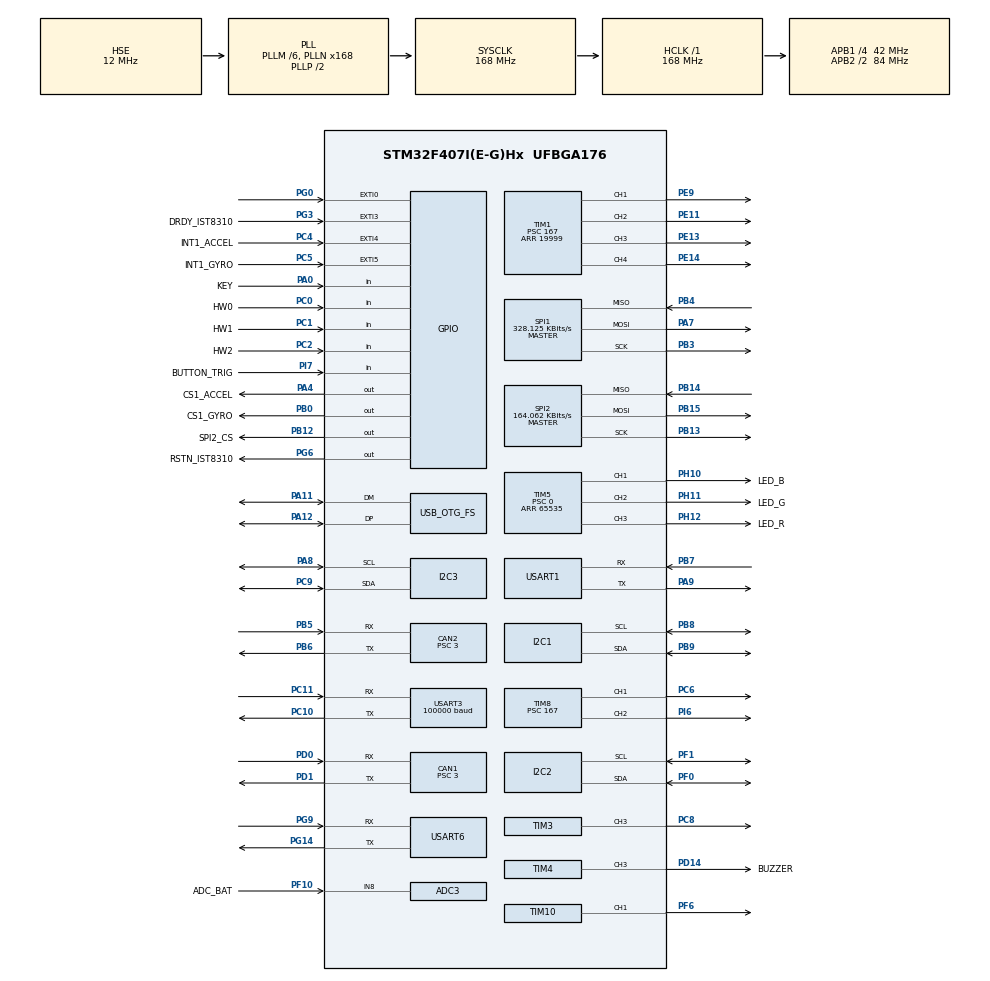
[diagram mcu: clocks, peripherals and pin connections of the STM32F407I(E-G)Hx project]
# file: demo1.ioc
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ADC1.Channel-0\#ChannelRegularConversion=ADC_CHANNEL_TEMPSENSOR
ADC1.ClockPrescaler=ADC_CLOCK_SYNC_PCLK_DIV6
ADC1.NbrOfConversionFlag=1
ADC1.Rank-0\#ChannelRegularConversion=1
ADC1.SamplingTime-0\#ChannelRegularConversion=ADC_SAMPLETIME_3CYCLES
ADC1.master=1
ADC3.Channel-0\#ChannelRegularConversion=ADC_CHANNEL_8
ADC3.ClockPrescaler=ADC_CLOCK_SYNC_PCLK_DIV6
ADC3.NbrOfConversionFlag=1
ADC3.Rank-0\#ChannelRegularConversion=1
ADC3.SamplingTime-0\#ChannelRegularConversion=ADC_SAMPLETIME_3CYCLES
CAN1.BS1=CAN_BS1_10TQ
CAN1.BS2=CAN_BS2_3TQ
CAN1.CalculateTimeQuantum=71.42857142857143
CAN1.Prescaler=3
CAN2.BS1=CAN_BS1_10TQ
CAN2.BS2=CAN_BS2_3TQ
CAN2.CalculateTimeQuantum=71.42857142857143
CAN2.Prescaler=3
Dma.I2C2_TX.2.Direction=DMA_MEMORY_TO_PERIPH
Dma.I2C2_TX.2.FIFOMode=DMA_FIFOMODE_DISABLE
Dma.I2C2_TX.2.Instance=DMA1_Stream7
Dma.I2C2_TX.2.MemDataAlignment=DMA_MDATAALIGN_BYTE
Dma.I2C2_TX.2.MemInc=DMA_MINC_ENABLE
Dma.I2C2_TX.2.Mode=DMA_NORMAL
Dma.I2C2_TX.2.PeriphDataAlignment=DMA_PDATAALIGN_BYTE
Dma.I2C2_TX.2.PeriphInc=DMA_PINC_DISABLE
Dma.I2C2_TX.2.Priority=DMA_PRIORITY_HIGH
Dma.Request0=SPI1_RX
Dma.Request1=SPI1_TX
Dma.Request2=I2C2_TX
Dma.Request3=USART3_RX
Dma.Request4=USART6_RX
Dma.Request5=USART6_TX
Dma.Request6=USART1_TX
Dma.SPI1_RX.0.Direction=DMA_PERIPH_TO_MEMORY
Dma.SPI1_RX.0.FIFOMode=DMA_FIFOMODE_DISABLE
Dma.SPI1_RX.0.Instance=DMA2_Stream2
Dma.SPI1_RX.0.MemDataAlignment=DMA_MDATAALIGN_BYTE
Dma.SPI1_RX.0.MemInc=DMA_MINC_ENABLE
Dma.SPI1_RX.0.Mode=DMA_NORMAL
Dma.SPI1_RX.0.PeriphDataAlignment=DMA_PDATAALIGN_BYTE
Dma.SPI1_RX.0.PeriphInc=DMA_PINC_DISABLE
Dma.SPI1_RX.0.Priority=DMA_PRIORITY_VERY_HIGH
Dma.SPI1_TX.1.Direction=DMA_MEMORY_TO_PERIPH
Dma.SPI1_TX.1.FIFOMode=DMA_FIFOMODE_DISABLE
Dma.SPI1_TX.1.Instance=DMA2_Stream3
Dma.SPI1_TX.1.MemDataAlignment=DMA_MDATAALIGN_BYTE
Dma.SPI1_TX.1.MemInc=DMA_MINC_ENABLE
Dma.SPI1_TX.1.Mode=DMA_NORMAL
Dma.SPI1_TX.1.PeriphDataAlignment=DMA_PDATAALIGN_BYTE
Dma.SPI1_TX.1.PeriphInc=DMA_PINC_DISABLE
Dma.SPI1_TX.1.Priority=DMA_PRIORITY_HIGH
Dma.USART1_TX.6.Direction=DMA_MEMORY_TO_PERIPH
Dma.USART1_TX.6.FIFOMode=DMA_FIFOMODE_DISABLE
Dma.USART1_TX.6.Instance=DMA2_Stream7
Dma.USART1_TX.6.MemDataAlignment=DMA_MDATAALIGN_BYTE
Dma.USART1_TX.6.MemInc=DMA_MINC_ENABLE
Dma.USART1_TX.6.Mode=DMA_NORMAL
Dma.USART1_TX.6.PeriphDataAlignment=DMA_PDATAALIGN_BYTE
Dma.USART1_TX.6.PeriphInc=DMA_PINC_DISABLE
Dma.USART1_TX.6.Priority=DMA_PRIORITY_MEDIUM
Dma.USART3_RX.3.Direction=DMA_PERIPH_TO_MEMORY
Dma.USART3_RX.3.FIFOMode=DMA_FIFOMODE_DISABLE
Dma.USART3_RX.3.Instance=DMA1_Stream1
Dma.USART3_RX.3.MemDataAlignment=DMA_MDATAALIGN_BYTE
Dma.USART3_RX.3.MemInc=DMA_MINC_ENABLE
Dma.USART3_RX.3.Mode=DMA_NORMAL
Dma.USART3_RX.3.PeriphDataAlignment=DMA_PDATAALIGN_BYTE
Dma.USART3_RX.3.PeriphInc=DMA_PINC_DISABLE
Dma.USART3_RX.3.Priority=DMA_PRIORITY_HIGH
Dma.USART6_RX.4.Direction=DMA_PERIPH_TO_MEMORY
Dma.USART6_RX.4.FIFOMode=DMA_FIFOMODE_DISABLE
Dma.USART6_RX.4.Instance=DMA2_Stream1
Dma.USART6_RX.4.MemDataAlignment=DMA_MDATAALIGN_BYTE
Dma.USART6_RX.4.MemInc=DMA_MINC_ENABLE
Dma.USART6_RX.4.Mode=DMA_NORMAL
Dma.USART6_RX.4.PeriphDataAlignment=DMA_PDATAALIGN_BYTE
Dma.USART6_RX.4.PeriphInc=DMA_PINC_DISABLE
Dma.USART6_RX.4.Priority=DMA_PRIORITY_HIGH
Dma.USART6_TX.5.Direction=DMA_MEMORY_TO_PERIPH
Dma.USART6_TX.5.FIFOMode=DMA_FIFOMODE_DISABLE
Dma.USART6_TX.5.Instance=DMA2_Stream6
Dma.USART6_TX.5.MemDataAlignment=DMA_MDATAALIGN_BYTE
Dma.USART6_TX.5.MemInc=DMA_MINC_ENABLE
Dma.USART6_TX.5.Mode=DMA_NORMAL
Dma.USART6_TX.5.PeriphDataAlignment=DMA_PDATAALIGN_BYTE
Dma.USART6_TX.5.PeriphInc=DMA_PINC_DISABLE
Dma.USART6_TX.5.Priority=DMA_PRIORITY_MEDIUM
FREERTOS.INCLUDE_eTaskGetState=1
FREERTOS.INCLUDE_pcTaskGetTaskName=1
FREERTOS.INCLUDE_uxTaskGetStackHighWaterMark=1
FREERTOS.INCLUDE_vTaskCleanUpResources=1
FREERTOS.INCLUDE_vTaskDelayUntil=1
FREERTOS.INCLUDE_xEventGroupSetBitFromISR=1
FREERTOS.INCLUDE_xQueueGetMutexHolder=1
FREERTOS.INCLUDE_xSemaphoreGetMutexHolder=1
FREERTOS.INCLUDE_xTaskAbortDelay=1
FREERTOS.INCLUDE_xTaskGetCurrentTaskHandle=1
FREERTOS.INCLUDE_xTaskGetHandle=1
FREERTOS.INCLUDE_xTimerPendFunctionCall=1
FREERTOS.Tasks01=test,24,128,test_task,As weak,NULL,Dynamic,NULL,NULL
FREERTOS.configTOTAL_HEAP_SIZE=24576
I2C1.I2C_Mode=I2C_Fast
I2C2.I2C_Mode=I2C_Fast
I2C3.I2C_Mode=I2C_Fast
Mcu.Family=STM32F4
Mcu.Name=STM32F407I(E-G)Hx
Mcu.Package=UFBGA176
NVIC.CAN1_RX0_IRQn=true\:6\:0\:true\:false\:true\:true\:true\:true
NVIC.CAN2_RX0_IRQn=true\:6\:0\:true\:false\:true\:true\:true\:true
NVIC.DMA1_Stream1_IRQn=true\:5\:0\:true\:false\:false\:true\:false\:false
NVIC.DMA1_Stream7_IRQn=true\:5\:0\:true\:false\:false\:true\:false\:true
NVIC.DMA2_Stream1_IRQn=true\:5\:0\:true\:false\:true\:true\:false\:true
NVIC.DMA2_Stream2_IRQn=true\:5\:0\:true\:false\:false\:true\:false\:true
NVIC.DMA2_Stream3_IRQn=true\:5\:0\:true\:false\:false\:true\:false\:true
NVIC.DMA2_Stream6_IRQn=true\:5\:0\:true\:false\:true\:true\:false\:true
NVIC.DMA2_Stream7_IRQn=true\:5\:0\:true\:false\:true\:true\:false\:true
NVIC.EXTI0_IRQn=true\:6\:0\:true\:false\:true\:true\:true\:true
NVIC.EXTI3_IRQn=true\:5\:0\:true\:false\:true\:true\:true\:true
NVIC.EXTI4_IRQn=true\:5\:0\:true\:false\:true\:true\:true\:true
NVIC.EXTI9_5_IRQn=true\:5\:0\:true\:false\:true\:true\:true\:true
NVIC.OTG_FS_IRQn=true\:5\:0\:false\:false\:true\:true\:false\:true
NVIC.PriorityGroup=NVIC_PRIORITYGROUP_4
NVIC.USART3_IRQn=true\:4\:0\:true\:false\:false\:false\:true\:true
NVIC.USART6_IRQn=true\:5\:0\:true\:false\:false\:true\:true\:true
PA0-WKUP.GPIO_Label=KEY
PA0-WKUP.GPIO_PuPd=GPIO_PULLUP
PA0-WKUP.Signal=GPIO_Input
PA11.Mode=Device_Only
PA11.Signal=USB_OTG_FS_DM
PA12.Mode=Device_Only
PA12.Signal=USB_OTG_FS_DP
PA13.Mode=Serial_Wire
PA13.Signal=SYS_JTMS-SWDIO
PA14.Mode=Serial_Wire
PA14.Signal=SYS_JTCK-SWCLK
PA4.GPIO_Label=CS1_ACCEL
PA4.GPIO_PuPd=GPIO_PULLUP
PA4.GPIO_Speed=GPIO_SPEED_FREQ_HIGH
PA4.PinState=GPIO_PIN_SET
PA4.Signal=GPIO_Output
PA7.GPIO_PuPd=GPIO_PULLUP
PA7.Mode=Full_Duplex_Master
PA7.Signal=SPI1_MOSI
PA8.Mode=I2C
PA8.Signal=I2C3_SCL
PA9.Mode=Asynchronous
PA9.Signal=USART1_TX
PB0.GPIO_Label=CS1_GYRO
PB0.GPIO_PuPd=GPIO_PULLUP
PB0.GPIO_Speed=GPIO_SPEED_FREQ_HIGH
PB0.PinState=GPIO_PIN_SET
PB0.Signal=GPIO_Output
PB12.GPIO_Label=SPI2_CS
PB12.GPIO_PuPd=GPIO_PULLUP
PB12.GPIO_Speed=GPIO_SPEED_FREQ_MEDIUM
PB12.PinState=GPIO_PIN_SET
PB12.Signal=GPIO_Output
PB13.GPIO_PuPd=GPIO_PULLUP
PB13.Mode=Full_Duplex_Master
PB13.Signal=SPI2_SCK
PB14.GPIO_PuPd=GPIO_PULLUP
PB14.Mode=Full_Duplex_Master
PB14.Signal=SPI2_MISO
PB15.GPIO_PuPd=GPIO_PULLUP
PB15.Mode=Full_Duplex_Master
PB15.Signal=SPI2_MOSI
PB3.GPIO_PuPd=GPIO_PULLUP
PB3.Mode=Full_Duplex_Master
PB3.Signal=SPI1_SCK
PB4.GPIO_PuPd=GPIO_PULLUP
PB4.Mode=Full_Duplex_Master
PB4.Signal=SPI1_MISO
PB5.Mode=Slave
PB5.Signal=CAN2_RX
PB6.Mode=Slave
PB6.Signal=CAN2_TX
PB7.Mode=Asynchronous
PB7.Signal=USART1_RX
PB8.Mode=I2C
PB8.Signal=I2C1_SCL
PB9.Mode=I2C
PB9.Signal=I2C1_SDA
PC0.GPIO_Label=HW0
PC0.Signal=GPIO_Input
PC1.GPIO_Label=HW1
PC1.Signal=GPIO_Input
PC10.Mode=Asynchronous
PC10.Signal=USART3_TX
PC11.Mode=Asynchronous
PC11.Signal=USART3_RX
PC2.GPIO_Label=HW2
PC2.Signal=GPIO_Input
PC4.GPIO_Label=INT1_ACCEL
PC4.GPIO_ModeDefaultEXTI=GPIO_MODE_IT_FALLING
PC4.GPIO_PuPd=GPIO_PULLUP
PC4.Signal=GPXTI4
PC5.GPIO_Label=INT1_GYRO
PC5.GPIO_ModeDefaultEXTI=GPIO_MODE_IT_FALLING
PC5.GPIO_PuPd=GPIO_PULLUP
PC5.Signal=GPXTI5
PC6.GPIO_PuPd=GPIO_PULLUP
PC6.GPIO_Speed=GPIO_SPEED_FREQ_HIGH
PC6.Signal=S_TIM8_CH1
PC8.GPIO_PuPd=GPIO_PULLUP
PC8.GPIO_Speed=GPIO_SPEED_FREQ_HIGH
PC8.Signal=S_TIM3_CH3
PC9.Mode=I2C
PC9.Signal=I2C3_SDA
PD0.Mode=Master
PD0.Signal=CAN1_RX
PD1.Mode=Master
PD1.Signal=CAN1_TX
PD14.GPIO_Label=BUZZER
PD14.GPIO_PuPd=GPIO_PULLUP
PD14.GPIO_Speed=GPIO_SPEED_FREQ_VERY_HIGH
PD14.Signal=S_TIM4_CH3
PE11.GPIO_PuPd=GPIO_PULLUP
PE11.GPIO_Speed=GPIO_SPEED_FREQ_HIGH
PE11.Signal=S_TIM1_CH2
PE13.GPIO_PuPd=GPIO_PULLUP
PE13.GPIO_Speed=GPIO_SPEED_FREQ_HIGH
PE13.Signal=S_TIM1_CH3
PE14.GPIO_PuPd=GPIO_PULLUP
PE14.GPIO_Speed=GPIO_SPEED_FREQ_HIGH
PE14.Signal=S_TIM1_CH4
PE9.GPIO_PuPd=GPIO_PULLUP
PE9.GPIO_Speed=GPIO_SPEED_FREQ_HIGH
PE9.Signal=S_TIM1_CH1
PF0.Mode=I2C
PF0.Signal=I2C2_SDA
PF1.Mode=I2C
PF1.Signal=I2C2_SCL
PF10.GPIO_Label=ADC_BAT
PF10.Mode=IN8
PF10.Signal=ADC3_IN8
PF6.GPIO_PuPd=GPIO_PULLUP
PF6.GPIO_Speed=GPIO_SPEED_FREQ_HIGH
PF6.Signal=S_TIM10_CH1
PG0.GPIO_ModeDefaultEXTI=GPIO_MODE_IT_FALLING
PG0.GPIO_PuPd=GPIO_PULLUP
PG0.Signal=GPXTI0
PG14.Mode=Asynchronous
PG14.Signal=USART6_TX
PG3.GPIO_Label=DRDY_IST8310
PG3.GPIO_ModeDefaultEXTI=GPIO_MODE_IT_FALLING
PG3.GPIO_PuPd=GPIO_PULLUP
PG3.Signal=GPXTI3
PG6.GPIO_Label=RSTN_IST8310
PG6.GPIO_PuPd=GPIO_PULLUP
PG6.GPIO_Speed=GPIO_SPEED_FREQ_MEDIUM
PG6.PinState=GPIO_PIN_SET
PG6.Signal=GPIO_Output
PG9.Mode=Asynchronous
PG9.Signal=USART6_RX
PH0-OSC_IN.Mode=HSE-External-Oscillator
PH0-OSC_IN.Signal=RCC_OSC_IN
PH1-OSC_OUT.Mode=HSE-External-Oscillator
PH1-OSC_OUT.Signal=RCC_OSC_OUT
PH10.GPIO_Label=LED_B
PH10.GPIO_PuPd=GPIO_PULLUP
PH10.GPIO_Speed=GPIO_SPEED_FREQ_HIGH
PH10.Signal=S_TIM5_CH1
PH11.GPIO_Label=LED_G
PH11.GPIO_PuPd=GPIO_PULLUP
PH11.GPIO_Speed=GPIO_SPEED_FREQ_HIGH
PH11.Signal=S_TIM5_CH2
PH12.GPIO_Label=LED_R
PH12.GPIO_PuPd=GPIO_PULLUP
PH12.GPIO_Speed=GPIO_SPEED_FREQ_HIGH
PH12.Signal=S_TIM5_CH3
PI6.GPIO_PuPd=GPIO_PULLUP
PI6.GPIO_Speed=GPIO_SPEED_FREQ_HIGH
PI6.Signal=S_TIM8_CH2
PI7.GPIO_Label=BUTTON_TRIG
PI7.GPIO_PuPd=GPIO_PULLUP
PI7.Signal=GPIO_Input
ProjectManager.HeapSize=0x2000
ProjectManager.StackSize=0x2000
ProjectManager.TargetToolchain=SW4STM32
RCC.48MHZClocksFreq_Value=48000000
RCC.AHBFreq_Value=168000000
RCC.APB1CLKDivider=RCC_HCLK_DIV4
RCC.APB1Freq_Value=42000000
RCC.APB1TimFreq_Value=84000000
RCC.APB2CLKDivider=RCC_HCLK_DIV2
RCC.APB2Freq_Value=84000000
RCC.APB2TimFreq_Value=168000000
RCC.CortexFreq_Value=168000000
RCC.HCLKFreq_Value=168000000
RCC.HSE_VALUE=12000000
RCC.HSI_VALUE=16000000
RCC.LSE_VALUE=32768
RCC.PLLM=6
RCC.PLLN=168
RCC.PLLQ=7
RCC.RCC_RTC_Clock_SourceVirtual=RCC_RTCCLKSOURCE_HSE_DIV30
RCC.RCC_RTC_Clock_Source_FROM_HSE=RCC_RTCCLKSOURCE_HSE_DIV30
RCC.SYSCLKFreq_VALUE=168000000
RCC.SYSCLKSource=RCC_SYSCLKSOURCE_PLLCLK
RCC.VCOOutputFreq_Value=336000000
RTC.AsynchPrediv=124
RTC.SynchPrediv=3199
SH.S_TIM10_CH1.0=TIM10_CH1,PWM Generation1 CH1
SH.S_TIM1_CH1.0=TIM1_CH1,PWM Generation1 CH1
SH.S_TIM1_CH2.0=TIM1_CH2,PWM Generation2 CH2
SH.S_TIM1_CH3.0=TIM1_CH3,PWM Generation3 CH3
SH.S_TIM1_CH4.0=TIM1_CH4,PWM Generation4 CH4
SH.S_TIM3_CH3.0=TIM3_CH3,PWM Generation3 CH3
SH.S_TIM4_CH3.0=TIM4_CH3,PWM Generation3 CH3
SH.S_TIM5_CH1.0=TIM5_CH1,PWM Generation1 CH1
SH.S_TIM5_CH2.0=TIM5_CH2,PWM Generation2 CH2
SH.S_TIM5_CH3.0=TIM5_CH3,PWM Generation3 CH3
SH.S_TIM8_CH1.0=TIM8_CH1,PWM Generation1 CH1
SH.S_TIM8_CH2.0=TIM8_CH2,PWM Generation2 CH2
SPI1.BaudRatePrescaler=SPI_BAUDRATEPRESCALER_256
SPI1.CLKPhase=SPI_PHASE_2EDGE
SPI1.CLKPolarity=SPI_POLARITY_HIGH
SPI1.CalculateBaudRate=328.125 KBits/s
SPI1.Direction=SPI_DIRECTION_2LINES
SPI1.Mode=SPI_MODE_MASTER
SPI1.VirtualType=VM_MASTER
SPI2.BaudRatePrescaler=SPI_BAUDRATEPRESCALER_256
SPI2.CLKPhase=SPI_PHASE_2EDGE
SPI2.CLKPolarity=SPI_POLARITY_HIGH
SPI2.CalculateBaudRate=164.062 KBits/s
SPI2.Direction=SPI_DIRECTION_2LINES
SPI2.Mode=SPI_MODE_MASTER
SPI2.VirtualType=VM_MASTER
TIM1.Channel-PWM\ Generation1\ CH1=TIM_CHANNEL_1
TIM1.Channel-PWM\ Generation2\ CH2=TIM_CHANNEL_2
TIM1.Channel-PWM\ Generation3\ CH3=TIM_CHANNEL_3
TIM1.Channel-PWM\ Generation4\ CH4=TIM_CHANNEL_4
TIM1.Period=19999
TIM1.Prescaler=167
TIM1.Pulse-PWM\ Generation1\ CH1=1000
TIM1.Pulse-PWM\ Generation2\ CH2=1000
TIM1.Pulse-PWM\ Generation3\ CH3=1000
TIM1.Pulse-PWM\ Generation4\ CH4=1000
TIM10.Channel=TIM_CHANNEL_1
TIM10.Period=4999
TIM3.Channel-PWM\ Generation3\ CH3=TIM_CHANNEL_3
TIM3.Period=8399
TIM4.Channel-PWM\ Generation3\ CH3=TIM_CHANNEL_3
TIM4.Period=65535
TIM4.Prescaler=167
TIM5.Channel-PWM\ Generation1\ CH1=TIM_CHANNEL_1
TIM5.Channel-PWM\ Generation2\ CH2=TIM_CHANNEL_2
TIM5.Channel-PWM\ Generation3\ CH3=TIM_CHANNEL_3
TIM5.Period=65535
TIM5.Prescaler=0
TIM8.Channel-PWM\ Generation1\ CH1=TIM_CHANNEL_1
TIM8.Channel-PWM\ Generation2\ CH2=TIM_CHANNEL_2
TIM8.Period=19999
TIM8.Prescaler=167
TIM8.Pulse-PWM\ Generation1\ CH1=1000
TIM8.Pulse-PWM\ Generation2\ CH2=1000
USART1.VirtualMode=VM_ASYNC
USART3.BaudRate=100000
USART3.Parity=PARITY_EVEN
USART3.VirtualMode=VM_ASYNC
USART6.VirtualMode=VM_ASYNC
USB_DEVICE.CLASS_NAME_FS=CDC
USB_DEVICE.VirtualMode-CDC_FS=Cdc
USB_DEVICE.VirtualModeFS=Cdc_FS
USB_OTG_FS.VirtualMode=Device_Only
VP_ADC1_TempSens_Input.Mode=IN-TempSens
VP_ADC1_Vref_Input.Mode=IN-Vrefint
VP_CRC_VS_CRC.Mode=CRC_Activate
VP_FREERTOS_VS_CMSIS_V1.Mode=CMSIS_V1
VP_RNG_VS_RNG.Mode=RNG_Activate
VP_RTC_VS_RTC_Activate.Mode=RTC_Enabled
VP_TIM10_VS_ClockSourceINT.Mode=Enable_Timer
VP_TIM1_VS_ClockSourceINT.Mode=Internal
VP_TIM3_VS_ClockSourceINT.Mode=Internal
VP_TIM4_VS_ClockSourceINT.Mode=Internal
VP_TIM5_VS_ClockSourceINT.Mode=Internal
VP_TIM8_VS_ClockSourceINT.Mode=Internal
VP_USB_DEVICE_VS_USB_DEVICE_CDC_FS.Mode=CDC_FS
board=custom

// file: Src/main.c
/* USER CODE BEGIN Header */

//%%88888888888888888888888888888888888888888888888888888888888888888888888888888%%%%%%%%%%%%%%%%%%%%%%%%%%%%%%%%%%%
//%%BBBBBBBBBBBBBBBBBBBBBBBBBBBBBBBBBBBBBBBBBBBBBBBBBBBBBBBBBBBBBBBBBBBBBBB%%%%%%%%%%%%%%%%%%%%%%%%%%%%%%%%%%%%%%%%%
//%%%%%%%%%%%%%%%%%%%%%%%%%%%%%%%%%%%%%%%%%%%%%%%%%%%%%%8%&%BB%B%8%%%%%%%%%%%%%%%%%%%%%%%%%%%%%%%%%%%%%%%%%%%%%%%%%%
//%%%%%%%%%%%%%%%%%%%%%%%%%%%%%%%%%%%%%%%%%%%%%%%%%%%%%%%i. .  `iJ8B8B%%%%%%%%%%%%%%%%%%%%%%%%%%%%%%%%%%%%%%%%%%%%%%
//%%%%%%%%%%%%%%%%%%%%%%%%%%%%%%%%%%%%%%%%%%%%%%%%%B8%%Bw''.  '.''`q%%%%%%%%%%%%%%%%%%%%%%%%%%%%%%%%%%%%%%%%%%%%%%%%
//%%%%%%%%%%%%%%%%%%%%%%%%%%%%%%%%%%%%%%%%%%%%%%%%%%%BB].. .......'.w$%%%%%%%%%%%%%%%%%%%%%%%%%%%%%%%%%%%%%%%%%%%%%%
//%%%%%%%%%%%%%%%%%%%%%%%%%%%%%%%%%%%%%%%%%%%%%%%%%%BBm^'.........`+B8B%%%%%%%%%%%%%%%%%%%%%%%%%%%%%%%%%%%%%%%%%%%%%
//%%%%%%%%%%%%%%%%%%%%%%%%%%%%%%%%%%%%%%%%%%%%%%%%%%88' .........."B%BB%%%%%%%%%%%%%%%%%%%%%%%%%%%%%%%%%%%%%%%%%%%%%
//%%%%%%%%%%%%%%%%%%%%%%%%%%%%%%%%%%%%%%%%%%%%%%%%%8Bf .........'.0&88%%%%%%%%%%%%%%%%%%%%%%%%%%%%%%%%%%%%%%%%%%%%%%
//%%%%%%%%%%%%%%%%%%%%%%%%%%B&@8B%8%%%%%%%%%%%%BB8%%w  ........`]CB%%%%%%%%%%%%%%%%%%%%%%%%%%%%%%%%%%%%%%%%%%%%%%%%%
//%%%%%%%%%%%%%%%%%%%%%%%%%%BW@%B%8%%%%%%%%%%%%%%%@~  . .......^88%%%%%%%%%%%%%%%%%%%%%%%%%%%%%%%%%%%%%%%%%%%%%%%%%%
//%%%%%%%%%%%%%%%%%%%%%BB%8%%8#>d8%%$%8%%%%%%%B8%%b. ........  #8%%%%%8%%}}C,UWW%%%%%%%%%%%%%%%%%%%%%%%%%%%%%%%%%%%%
//%%%%%%%%%%%%%%%%%%%%%W&%pl` ''''`[LB%%BZq-x{Z@BJ   ..... ..lJ%%B}C}W%W*`...... ]8$%%%%B%%%%%%%%%%%%%%%%%%%%%%%%%%%
//%%%%%%%%%%%%%%%%%%%%%O`'`'.    . '  '.'^ ?%%B%b:. ...... ..&@%%B~.... .. .....^` `w#&%%%%%%%%%%%%%%%%%%%%%%%%%%%%%
//%%%%%%%%%%%%%%%%%%%%%%W`.'..'    ... .'.X{BB%L..   ...  ..O%8BBz..            ..:C%%%%%%%%%%%%%%%%%%%%%%%%%%%%%%%%
//%%%%%%%%%%%%%%%%%%%%%%BB_'......... ' `w@%B%B`  `......`Ib@%%&%JI .           ..QBB%%%%%%%%%%%%%%%%%%%%%%%%%%%%%%%
//%%%%%%%%%%%%%%%%%%%%%%J' ..... '. Ih@#BB%%{a'  .......'"&}BBBBBBB%B%%hu '.    . ''Q$&%B%%%%%%%%%%%%%%%%%%%%%%%%%%%
//%%%%%%%%B%%%%%%%8%8%b^''..' . "+{WW8%%%%&%J       .....0@BBBBBBB%%%%BB%B$w .'.     'h8%%%%B%%%B%%%%%%%%%%%%%%%%%%%
//%%%%%%%%%@^ .'''"..''.''.'.''M%#8B%%%%%%8M`'..     ...h%BBBBB%%%%%%%BBB%BB%C[`   .. '','''.'` B%%%%%%%%%%%%%%%%%%%
//%%%%%%%%Bj`    .'. '......^B%B%%%%%%%%%%k"'.'       ,M@BBB&%%BBBB8%&ZUYhaw#%&W'`  ...........' 8%%%%%%%%%%%%%%%%%%
//%%%%%%%8L``'.   '    . ^`?@%%8%%%%%%B%8L` '        ''.'...'...........'..z@BB@BL.'...        .`_Z%%%%%%%%%%%%%%%%%
//%%%%%%%m;`''''''......."&8%%8%%%%%%%%B%` .       . . .'.  .......    '.'C%%BB%B&J'         ..'':_%@%%%%%%%%%%%%%%%
//%%%%%%%%B%%%%%o ..... .v%B%%%%%%%%%BB%'^..                          .''J&88%%%B%8t.....   0&@88%8%%%%%%%%%%%%%%%%%
//%%%%%%%%%%%%%%f      .'$B%%%%%%%%%%8Q+'. . ... '''..    '`^.`.        a8&8%8%%%%B$`.......kB%%888%%%%%%%%%%%%%%%%%
//%%%%%%%%%%%%%%+'      ^B%%%%%%%%8%%&.'  . '';Y%%%8%BB%BBBBb  . . .   08BB88%%%%%%}'.     .n%88888%%%%%%%%%%%%%%%%%
//%%%%%%%%%%%%B8h^      'MB8%%%%%%%8%:.   ......^u&%%B%%BB&h       '.'q%8%%%%%%%%%BZ'.   . .bB88888%%%%%%%%%%%%%%%%%
//%%%%%%%W%$MQh:..     .._B%%%%%%%B#j       .  .U%%88888BB!..    ... v%8%%%%%%%%%%Bl     .'''nw&W@$%%%%%%%%%%%%%%%%%
//%%%%%%%#+''.''`'''... . *$%%%%%%W''        . zB%%%8888B<'`    ....J&8%%%%%%%%%BBw.      ...'.',.b%%%%%%%%%%%%%%%%%
//%%%%%%%B8l.............'."O@%%8W^.  ..     :u&%&%B%%%p' '''..   .bBW%%%%%%%%%%C+.'     ....... %W%%%%%%%%%%%%%%%%%
//%%%%%%%%%&..'.''. `  ..''' n&%QnkhJM&8B@BBB%%88%8888q...        o%88%%%%%%%&%]`.. ...  .  .  'M&%%%%%%%%%%%%%%%%%%
//%%%%%%%B%@ZadJLO888h`'''..   ;%@8%BB%%8&8%%888888%%Q'..       '+&8%%%%%%%W@l. .. .'''C%BW0Xkkq%%%%%%%%%%%%%%%%%%%%
//%%%%%%%%%%%%B%%B%8%BWQ '.''''' `>{BW%%B8%%%%%8888BZ`'.     . 'q88%BB%B8B!^. ..'... [&%%BBB%%%%%%%%%%%%%%%%%%%%%%%%
//%%%%%%%%%%%%%%B%8%%8%%Bk .'''''`.^`'xY8%%%%%%%%%8f ^       . r$8%%&Bt`^   .. ... Y@&88%%%%8%%%%%%%%%%%%%%%%%%%%%%%
//%%%%%%%%%%%B%%%%B%8B%8%Wl^'.. ......  ''',[J&%8Bv` .       .,%8%_.`' .....   . 'Z&88%%%%%%%%%%%%%%%%%%%%%%%%%%%%%%
//%%B%%%%%%%%%%%%%%%%%%@k'`''........ .   . +B%%X!.        ..b}%al    '... .    '.`tBB8%%%%%%%%%%%%%%%%%%%%%%%%%%%%%
//%%%%%%%%%%%%%%%%%%%8B{~''`'........:j,'.']BBBJ. .     ..  v%@q ^  '``... .     '.'L8%%%%%%%%%%%%%%%%%%%%%%%%%%%%%%
//%%%%%%%%%%%%%%%%%%%%%@%&BQ` ''  ,#%B%8BB&8B&0' .      ..'<&8&888%88&%%Bu     'w#$%8%%%%%%%%%%%%%%%%%%%%%%%%%%%%%%%
//%%%%%%B%%%%%%%%%%%%%%%%%%%88WkMB8%%%%%%%%%%f'          .b%8%%%%%%%%%%%%8%@mW@B%%%%%%%%%%%%%%%%%%%%%%%%%%%%%%%%%%%%
//%%%%%%%%%%%%%%%%%%%%%%%%%%8B%%%B%%8%%%%%B%x`.        . -B8%%%%%%%%%%%B&8%%%%%B%%%%%%%%%%%%%%%%%%%%%%%%%%%%%%%%%%%%
//%%%%%%B%%%%%%%%%%%%%%%%%%%%%%%%%%%%%%%%%#z'`.      .' .B&B8%%%%%%%%%%%%%%%%%%%%%%%%%%%%%%%%%%%%%%%%%%%%%%%%%%%%%%%
//B%%%%%%%%%%%%%%%%%%%%%%%%%%%%%%%%%%%8B@M` ..      . ^nOB%%%%%%%%%%%%%%%%%%%%%%%%%%%%%%%%%%%%%%%%%%%%%%%%%%%%%%%%%%
//%%%%%%%%%%%%%%%%%%%%%%%%%%%%%%%%%%%%%%C'.. .     ..']%B%%%8%%%%%%%%%%%%%%%%%%%%%%%%%%%%%%%%%%%%%%%%%%%%%%%%%%%%%%%
//%%%%%%%%%%%%%%%%%%%%%%%%%%%%%%%%%%%BB#....        ' BB%%%%%%%%%%%%%%%%%%%%%%%%%%%%%%%%%%%%%%%%%%%%%%%%%%%%%%%%%%%%
//%%%%%%%%%%%%%%%%%%%%%%%%%%%%%%%%%%%%%Bq .   .    ' Q%BB%%%%%%%%%%%%%%%%%%%%%%%%%%%%%%%%%%%%%%%%%%%%%%%%%%%%%%%%%%%
//%%%%%%%%%%%%%%%%%%%%%%%%%%%%%%%%%%%88888] .^^.   "p@B%%%%%%%%%%%%%%%%%%%%%%%%%%%%%%%%%%%%%%%%%%%%%%%%%%%%%%%%%%%%%
//%%%%%%%%%%%%%%%%%%%%%%%%%%%%%%%%%%%%B%%B%$d'"  ^.&BB8%%%%%%%%%%%%%%%%%%%%%%%%%%%%%%%%%%%%%%%%%%%%%%%%%%%%%%%%%%%%%
//%%%%%%%%%%%%%%%%%%%%%%%%%%%%%%%%%%%%%%%%BB%8M '^hB%8%88%%%%%%%%%%%%%%%%%%%%%%%%%%%%%%%%%%%%%%%%%%%%%%%%%%%%%%%%%%%
//%%%%%%%%%%%%%%%%%%%%%%%%%%%%%%%%%%%%%%%%B88%%%%W&%%%%%%%%%%%%%%%%%%%%%%%%%%%%%%%%%%%%%%%%%%%%%%%%%%%%%%%%%%%%%%%%%
//%%%%%%%%%%%%%%%%%%%%%%%%%%%%%%%%%%%%%%%%%%%%%%%%%%%%%%%%%%%%%%%%%%%%%%%%%%%%%%%%%%%%%%%%%%%%%%%%%%%%%%%%%%%%%%%%%%
//%%%%%%%%%%%%%%%%%%%%%%%%%%%%%%%%%%%%%%%%%%%%%%%%%%%%%%%%%%%%%%%%%%%%%%%%%%%%%%%%%%%%%%%%%%%%%%%%%%%%%%%%%%%%%%%%%%

/* USER CODE END Header */

#include "main.h"
#include "cmsis_os.h"
#include "adc.h"
#include "can.h"
#include "crc.h"
#include "dma.h"
#include "i2c.h"
#include "rng.h"
#include "rtc.h"
#include "spi.h"
#include "tim.h"
#include "usart.h"
#include "usb_device.h"
#include "gpio.h"

/* USER CODE BEGIN Includes */
#include "bsp_can.h"
#include "bsp_delay.h"
#include "bsp_usart.h"
#include "remote.h"
#include "referee.h"
//#include "remote_control.h"
//
#include "Calibrate.h"
//#include "chassis_task.h"
//#include "detect_task.h"
//#include "gimbal_task.h"
//#include "INS_task.h"
//#include "led_flow_task.h"
//#include "oled_task.h"
//#include "referee_usart_task.h"
//#include "usb_task.h"
//#include "voltage_task.h"
/* USER CODE END Includes */

void SystemClock_Config(void);
void MX_FREERTOS_Init(void);

int main(void)
{

  /* MCU Configuration--------------------------------------------------------*/

  /* Reset of all peripherals, Initializes the Flash interface and the Systick. */
  HAL_Init();

  /* Configure the system clock */
  SystemClock_Config();

  /* Initialize all configured peripherals */
  MX_GPIO_Init();
  MX_DMA_Init();
  MX_ADC1_Init();
  MX_ADC3_Init();
  MX_CAN1_Init();
  MX_CAN2_Init();
  MX_I2C1_Init();
  MX_SPI1_Init();
  MX_TIM4_Init();
  MX_TIM5_Init();
  MX_USART3_UART_Init();
  MX_TIM8_Init();
  MX_CRC_Init();
  MX_RNG_Init();
  MX_I2C2_Init();
  MX_I2C3_Init();
  MX_RTC_Init();
  MX_SPI2_Init();
  MX_TIM1_Init();
  MX_TIM3_Init();
  MX_TIM10_Init();
  MX_USART1_UART_Init();
  MX_USART6_UART_Init();
  /* USER CODE BEGIN 2 */
    can_filter_init();
    delay_init();
//    usart6_init(&usart6_buf[0], REFEREE_BUFFER_SIZE);

    cali_param_init();
    remote_control_init();
//    usart1_tx_dma_init();
  /* USER CODE END 2 */
    JiGuang_GPIO_Config();
  /* Call init function for freertos objects (in freertos.c) */
  MX_FREERTOS_Init();

  /* Start scheduler */
  osKernelStart();

  /* We should never get here as control is now taken by the scheduler */

  /* Infinite loop */

  while (1)
  {
  }
}

void SystemClock_Config(void)
{
  RCC_OscInitTypeDef RCC_OscInitStruct = {0};
  RCC_ClkInitTypeDef RCC_ClkInitStruct = {0};
  RCC_PeriphCLKInitTypeDef PeriphClkInitStruct = {0};

  /** Configure the main internal regulator output voltage
  */
  __HAL_RCC_PWR_CLK_ENABLE();
  __HAL_PWR_VOLTAGESCALING_CONFIG(PWR_REGULATOR_VOLTAGE_SCALE1);
  /** Initializes the CPU, AHB and APB busses clocks
  */
  RCC_OscInitStruct.OscillatorType = RCC_OSCILLATORTYPE_HSE;
  RCC_OscInitStruct.HSEState = RCC_HSE_ON;
  RCC_OscInitStruct.PLL.PLLState = RCC_PLL_ON;
  RCC_OscInitStruct.PLL.PLLSource = RCC_PLLSOURCE_HSE;
  RCC_OscInitStruct.PLL.PLLM = 6;
  RCC_OscInitStruct.PLL.PLLN = 168;
  RCC_OscInitStruct.PLL.PLLP = RCC_PLLP_DIV2;
  RCC_OscInitStruct.PLL.PLLQ = 7;
  if (HAL_RCC_OscConfig(&RCC_OscInitStruct) != HAL_OK)
  {
    Error_Handler();
  }
  /** Initializes the CPU, AHB and APB busses clocks
  */
  RCC_ClkInitStruct.ClockType = RCC_CLOCKTYPE_HCLK|RCC_CLOCKTYPE_SYSCLK
                              |RCC_CLOCKTYPE_PCLK1|RCC_CLOCKTYPE_PCLK2;
  RCC_ClkInitStruct.SYSCLKSource = RCC_SYSCLKSOURCE_PLLCLK;
  RCC_ClkInitStruct.AHBCLKDivider = RCC_SYSCLK_DIV1;
  RCC_ClkInitStruct.APB1CLKDivider = RCC_HCLK_DIV4;
  RCC_ClkInitStruct.APB2CLKDivider = RCC_HCLK_DIV2;

  if (HAL_RCC_ClockConfig(&RCC_ClkInitStruct, FLASH_LATENCY_5) != HAL_OK)
  {
    Error_Handler();
  }
  PeriphClkInitStruct.PeriphClockSelection = RCC_PERIPHCLK_RTC;
  PeriphClkInitStruct.RTCClockSelection = RCC_RTCCLKSOURCE_HSE_DIV30;
  if (HAL_RCCEx_PeriphCLKConfig(&PeriphClkInitStruct) != HAL_OK)
  {
    Error_Handler();
  }
}

void Error_Handler(void)
{
}

/************************ (C) COPYRIGHT STMicroelectronics *****END OF FILE****/

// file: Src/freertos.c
/* USER CODE BEGIN Header */
/**
  ******************************************************************************
  * File Name          : freertos.c
  * Description        : Code for freertos applications
  ******************************************************************************
  * @attention
  *
  * <h2><center>&copy; Copyright (c) 2019 STMicroelectronics.
  * All rights reserved.</center></h2>
  *
  * This software component is licensed by ST under Ultimate Liberty license
  * SLA0044, the "License"; You may not use this file except in compliance with
  * the License. You may obtain a copy of the License at:
  *                             www.st.com/SLA0044
  *
  ******************************************************************************
  */
/* USER CODE END Header */

#include <can_receive.h>
#include <bsp_buzzer.h>
#include "FreeRTOS.h"
#include "task.h"
#include "main.h"
#include "cmsis_os.h"

/* USER CODE BEGIN Includes */
#include "Atti.h"
#include "Calibrate.h"
#include "chassis.h"
#include "Gimbal.h"
//#include "detect_task.h"
#include "Gimbal.h"
//#include "INS_task.h"
//#include "led_flow_task.h"
//#include "oled_task.h"
#include "referee.h"
#include "test.h"
//#include "usb_task.h"
//#include "voltage_task.h"
//#include "servo_task.h"
//#include "remote.h"
/* USER CODE END Includes */

/* USER CODE BEGIN PTD */

osThreadId calibrate_tast_handle;
osThreadId chassisTaskHandle;
osThreadId detect_handle;
osThreadId gimbalTaskHandle;
osThreadId imuTaskHandle;
osThreadId led_RGB_flow_handle;
osThreadId oled_handle;
osThreadId refereeTaskHandle;
osThreadId usb_task_handle;
osThreadId battery_voltage_handle;
osThreadId servo_task_handle;
osThreadId UI_task_handle;

/* USER CODE END PTD */

/* USER CODE BEGIN Variables */
//extern RC_ctrl_t rc_ctrl;
/* USER CODE END Variables */
osThreadId testHandle;

void test_task(void const * argument);

extern void MX_USB_DEVICE_Init(void);
void MX_FREERTOS_Init(void); /* (MISRA C 2004 rule 8.1) */

/* GetIdleTaskMemory prototype (linked to static allocation support) */
void vApplicationGetIdleTaskMemory( StaticTask_t **ppxIdleTaskTCBBuffer, StackType_t **ppxIdleTaskStackBuffer, uint32_t *pulIdleTaskStackSize );

/* GetTimerTaskMemory prototype (linked to static allocation support) */
void vApplicationGetTimerTaskMemory( StaticTask_t **ppxTimerTaskTCBBuffer, StackType_t **ppxTimerTaskStackBuffer, uint32_t *pulTimerTaskStackSize );

/* USER CODE BEGIN GET_IDLE_TASK_MEMORY */
static StaticTask_t xIdleTaskTCBBuffer;
static StackType_t xIdleStack[configMINIMAL_STACK_SIZE];

void vApplicationGetIdleTaskMemory( StaticTask_t **ppxIdleTaskTCBBuffer, StackType_t **ppxIdleTaskStackBuffer, uint32_t *pulIdleTaskStackSize )
{
  *ppxIdleTaskTCBBuffer = &xIdleTaskTCBBuffer;
  *ppxIdleTaskStackBuffer = &xIdleStack[0];
  *pulIdleTaskStackSize = configMINIMAL_STACK_SIZE;
  /* place for user code */
}
/* USER CODE END GET_IDLE_TASK_MEMORY */

/* USER CODE BEGIN GET_TIMER_TASK_MEMORY */
static StaticTask_t xTimerTaskTCBBuffer;
static StackType_t xTimerStack[configTIMER_TASK_STACK_DEPTH];

void vApplicationGetTimerTaskMemory( StaticTask_t **ppxTimerTaskTCBBuffer, StackType_t **ppxTimerTaskStackBuffer, uint32_t *pulTimerTaskStackSize )
{
  *ppxTimerTaskTCBBuffer = &xTimerTaskTCBBuffer;
  *ppxTimerTaskStackBuffer = &xTimerStack[0];
  *pulTimerTaskStackSize = configTIMER_TASK_STACK_DEPTH;
  /* place for user code */
}
/* USER CODE END GET_TIMER_TASK_MEMORY */

void MX_FREERTOS_Init(void) {

  /* Create the thread(s) */
  /* definition and creation of test */

  /* USER CODE BEGIN RTOS_THREADS */
  /* add threads, ... */
    osThreadDef(cali, calibrate_task, osPriorityNormal, 0, 512);
    calibrate_tast_handle = osThreadCreate(osThread(cali), NULL);

    osThreadDef(ChassisTask, chassis_task, osPriorityAboveNormal, 0, 512);
    chassisTaskHandle = osThreadCreate(osThread(ChassisTask), NULL);

    osThreadDef(UIPaintTask, UI_paint_task,osPriorityNormal,0,256);
    UI_task_handle= osThreadCreate(osThread(UIPaintTask),NULL);

    osThreadDef(gimbalTask, gimbal_task, osPriorityHigh, 0, 512);
    gimbalTaskHandle = osThreadCreate(osThread(gimbalTask), NULL);
//
    osThreadDef(imuTask, INS_task, osPriorityRealtime, 0, 1024);
    imuTaskHandle = osThreadCreate(osThread(imuTask), NULL);

//    osThreadDef(refereeTask,referee_task,osPriorityHigh,0,256);
//    refereeTaskHandle = osThreadCreate(osThread(refereeTask), NULL);

//    osThreadDef(REFEREE, referee_usart_task, osPriorityNormal, 0, 128);
//    referee_usart_task_handle = osThreadCreate(osThread(REFEREE), NULL);

//    osThreadDef(SERVO, servo_task, osPriorityNormal, 0, 128);
//    servo_task_handle = osThreadCreate(osThread(SERVO), NULL);

  /* USER CODE END RTOS_THREADS */

}

__weak void test_task(void const * argument)
{
  /* init code for USB_DEVICE */
  MX_USB_DEVICE_Init();

  /* USER CODE BEGIN test_task */
  /* Infinite loop */
  for(;;)
  {
      osDelay(10);
  }
  /* USER CODE END test_task */
}

/************************ (C) COPYRIGHT STMicroelectronics *****END OF FILE****/
